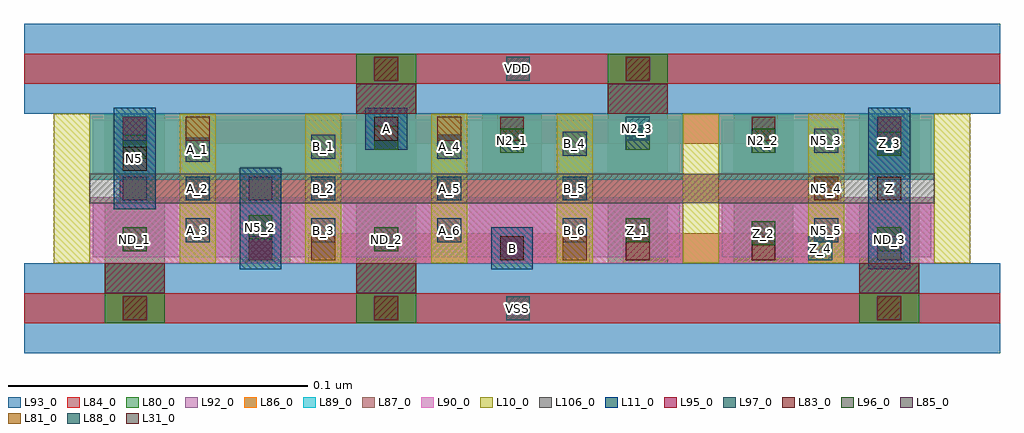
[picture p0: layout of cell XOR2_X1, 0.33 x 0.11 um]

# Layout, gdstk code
import gdstk
lib = gdstk.Library(unit=1e-6, precision=1e-09)
def R(c, l, rs):  # rectangles x0, y0, x1, y1
    for r in rs: c.add(gdstk.rectangle(r[:2], r[2:], *l))
def A(c, l, x, y, w, h, nx, ny, dx, dy):  # array of equal rectangles
    R(c, l, [(x+i*dx, y+j*dy, x+i*dx+w, y+j*dy+h) for i in range(nx) for j in range(ny)])
L10_0 = (10, 0)
L11_0 = (11, 0)
L31_0 = (31, 0)
L80_0 = (80, 0)
L81_0 = (81, 0)
L83_0 = (83, 0)
L84_0 = (84, 0)
L85_0 = (85, 0)
L86_0 = (86, 0)
L87_0 = (87, 0)
L88_0 = (88, 0)
L89_0 = (89, 0)
L90_0 = (90, 0)
L92_0 = (92, 0)
L93_0 = (93, 0)
L95_0 = (95, 0)
L96_0 = (96, 0)
L97_0 = (97, 0)
L106_0 = (106, 0)

xor2_x1 = lib.new_cell('XOR2_X1')
A(xor2_x1, L10_0, -0.027, 0.015, 0.012, 0.05, 8, 1, 0.042, 0)
R(xor2_x1, L11_0, [(0.035,0.013,0.049,0.047), (0.119,0.013,0.133,0.027), (0.245,0.013,0.259,0.047), (-0.007,0.033,0.007,0.067), (0.245,0.033,0.259,0.067), (0.077,0.053,0.091,0.067)])
R(xor2_x1, L31_0, [(0.122,0.016,0.13,0.024), (0.248,0.036,0.256,0.044), (-0.004,0.046,0.004,0.054), (0.08,0.056,0.088,0.064)])
A(xor2_x1, L80_0, -0.01, 0.015, 0.02, 0.02, 3, 1, 0.042, 0)
A(xor2_x1, L80_0, 0.158, 0.015, 0.02, 0.02, 3, 1, 0.042, 0)
R(xor2_x1, L80_0, [(-0.01,-0.005,0.01,0.016), (0.074,-0.005,0.094,0.016), (0.242,-0.005,0.262,0.016), (-0.01,0.045,0.01,0.065), (-0.01,0.045,0.01,0.065), (0.074,0.045,0.094,0.065), (0.074,0.045,0.094,0.065), (0.116,0.045,0.136,0.065), (0.116,0.045,0.136,0.065), (0.158,0.045,0.178,0.065), (0.158,0.045,0.178,0.065), (0.2,0.045,0.22,0.065), (0.2,0.045,0.22,0.065), (0.242,0.045,0.262,0.065), (0.242,0.045,0.262,0.065), (0.074,0.056,0.094,0.085), (0.158,0.056,0.178,0.085)])
R(xor2_x1, L81_0, [(0.059,0.016,0.067,0.024), (0.143,0.016,0.151,0.024), (0.227,0.036,0.235,0.044), (0.017,0.056,0.025,0.064), (0.101,0.056,0.109,0.064)])
R(xor2_x1, L83_0, [(-0.004,-0.004,0.004,0.004), (0.08,-0.004,0.088,0.004), (0.248,-0.004,0.256,0.004), (0.038,0.016,0.046,0.024), (0.164,0.016,0.172,0.024), (0.206,0.016,0.214,0.024), (-0.004,0.056,0.004,0.064), (0.122,0.056,0.13,0.064), (0.206,0.056,0.214,0.064), (0.248,0.056,0.256,0.064), (0.08,0.076,0.088,0.084), (0.164,0.076,0.172,0.084)])
A(xor2_x1, L84_0, 0.058, 0.015, 0.031, 0.01, 3, 1, 0.021, 0)
A(xor2_x1, L84_0, 0.163, 0.015, 0.031, 0.01, 4, 1, 0.021, 0)
A(xor2_x1, L84_0, -0.005, 0.035, 0.031, 0.01, 11, 1, 0.021, 0)
A(xor2_x1, L84_0, 0.016, 0.055, 0.031, 0.01, 3, 1, 0.021, 0)
A(xor2_x1, L84_0, 0.121, 0.055, 0.031, 0.01, 4, 1, 0.021, 0)
R(xor2_x1, L84_0, [(-0.037,-0.005,0.289,0.005), (0.037,0.015,0.047,0.025), (0.1,0.015,0.131,0.025), (0.121,0.015,0.152,0.025), (-0.005,0.055,0.005,0.065), (0.058,0.055,0.089,0.065), (0.079,0.055,0.11,0.065), (0.247,0.055,0.257,0.065), (-0.037,0.075,0.289,0.085)])
R(xor2_x1, L85_0, [(0.038,0.016,0.046,0.024), (0.122,0.016,0.13,0.024), (0.248,0.016,0.256,0.024), (-0.004,0.036,0.004,0.044), (0.038,0.036,0.046,0.044), (-0.004,0.056,0.004,0.064), (0.08,0.056,0.088,0.064), (0.248,0.056,0.256,0.064)])
R(xor2_x1, L86_0, [(-0.015,0.043,0.183,0.065), (0.195,0.043,0.267,0.065)])
R(xor2_x1, L87_0, [(-0.015,0.015,0.183,0.037), (0.195,0.015,0.267,0.037)])
R(xor2_x1, L88_0, [(0.124,-0.004,0.132,0.004), (0.225,0.016,0.233,0.024), (0.164,0.056,0.172,0.064), (0.124,0.076,0.132,0.084)])
R(xor2_x1, L89_0, [(-0.015,0.043,0.183,0.065), (0.195,0.043,0.267,0.065)])
R(xor2_x1, L90_0, [(-0.015,0.015,0.183,0.037), (0.195,0.015,0.267,0.037)])
R(xor2_x1, L92_0, [(-0.014,0.017,0.182,0.035), (0.196,0.017,0.266,0.035), (-0.014,0.045,0.182,0.063), (0.196,0.045,0.266,0.063)])
R(xor2_x1, L93_0, [(-0.037,-0.015,0.289,0.015), (-0.037,0.065,0.289,0.095)])
R(xor2_x1, L95_0, [(-0.01,0.005,0.01,0.015), (0.074,0.005,0.094,0.015), (0.242,0.005,0.262,0.015), (0.074,0.065,0.094,0.075), (0.158,0.065,0.178,0.075)])
R(xor2_x1, L96_0, [(-0.004,0.019,0.004,0.027), (0.08,0.019,0.088,0.027), (0.248,0.019,0.256,0.027), (0.206,0.021,0.214,0.029), (0.164,0.022,0.172,0.03), (0.038,0.023,0.046,0.031), (-0.004,0.05,0.004,0.058), (0.248,0.051,0.256,0.059), (0.122,0.052,0.13,0.06), (0.206,0.052,0.214,0.06), (0.08,0.053,0.088,0.061), (0.164,0.053,0.172,0.061)])
A(xor2_x1, L97_0, 0.017, 0.022, 0.008, 0.008, 4, 2, 0.042, 0.014)
R(xor2_x1, L97_0, [(0.227,0.022,0.235,0.03), (0.227,0.036,0.235,0.044), (0.017,0.049,0.025,0.057), (0.059,0.05,0.067,0.058), (0.101,0.05,0.109,0.058), (0.143,0.051,0.151,0.059), (0.227,0.052,0.235,0.06)])
R(xor2_x1, L106_0, [(-0.015,0.035,0.267,0.045)])
xor2_x1.add(gdstk.Label('Z_4', (0.229,0.02), layer=88, texttype=0))
xor2_x1.add(gdstk.Label('N2_3', (0.168,0.06), layer=88, texttype=0))
xor2_x1.add(gdstk.Label('VSS', (0.128,0), layer=88, texttype=0))
xor2_x1.add(gdstk.Label('VDD', (0.128,0.08), layer=88, texttype=0))
xor2_x1.add(gdstk.Label('B', (0.126,0.02), layer=31, texttype=0))
xor2_x1.add(gdstk.Label('A', (0.084,0.06), layer=31, texttype=0))
xor2_x1.add(gdstk.Label('N5', (0,0.05), layer=31, texttype=0))
xor2_x1.add(gdstk.Label('Z', (0.252,0.04), layer=31, texttype=0))
xor2_x1.add(gdstk.Label('N2_2', (0.21,0.056), layer=96, texttype=0))
xor2_x1.add(gdstk.Label('N2_1', (0.126,0.056), layer=96, texttype=0))
xor2_x1.add(gdstk.Label('Z_2', (0.21,0.025), layer=96, texttype=0))
xor2_x1.add(gdstk.Label('Z_3', (0.252,0.055), layer=96, texttype=0))
xor2_x1.add(gdstk.Label('Z_1', (0.168,0.026), layer=96, texttype=0))
xor2_x1.add(gdstk.Label('N5_2', (0.042,0.027), layer=96, texttype=0))
xor2_x1.add(gdstk.Label('N5_1', (0,0.054), layer=96, texttype=0))
xor2_x1.add(gdstk.Label('ND_3', (0.252,0.023), layer=96, texttype=0))
xor2_x1.add(gdstk.Label('ND_2', (0.084,0.023), layer=96, texttype=0))
xor2_x1.add(gdstk.Label('ND_1', (0,0.023), layer=96, texttype=0))
xor2_x1.add(gdstk.Label('NU_2', (0.168,0.057), layer=96, texttype=0))
xor2_x1.add(gdstk.Label('NU_1', (0.084,0.057), layer=96, texttype=0))
xor2_x1.add(gdstk.Label('N5_5', (0.231,0.026), layer=97, texttype=0))
xor2_x1.add(gdstk.Label('N5_4', (0.231,0.04), layer=97, texttype=0))
xor2_x1.add(gdstk.Label('N5_3', (0.231,0.056), layer=97, texttype=0))
xor2_x1.add(gdstk.Label('B_4', (0.147,0.055), layer=97, texttype=0))
xor2_x1.add(gdstk.Label('B_5', (0.147,0.04), layer=97, texttype=0))
xor2_x1.add(gdstk.Label('B_6', (0.147,0.026), layer=97, texttype=0))
xor2_x1.add(gdstk.Label('B_3', (0.063,0.026), layer=97, texttype=0))
xor2_x1.add(gdstk.Label('B_2', (0.063,0.04), layer=97, texttype=0))
xor2_x1.add(gdstk.Label('B_1', (0.063,0.054), layer=97, texttype=0))
xor2_x1.add(gdstk.Label('A_4', (0.105,0.054), layer=97, texttype=0))
xor2_x1.add(gdstk.Label('A_5', (0.105,0.04), layer=97, texttype=0))
xor2_x1.add(gdstk.Label('A_6', (0.105,0.026), layer=97, texttype=0))
xor2_x1.add(gdstk.Label('A_3', (0.021,0.026), layer=97, texttype=0))
xor2_x1.add(gdstk.Label('A_2', (0.021,0.04), layer=97, texttype=0))
xor2_x1.add(gdstk.Label('A_1', (0.021,0.053), layer=97, texttype=0))

lib.write_gds('XOR2_X1.gds')
